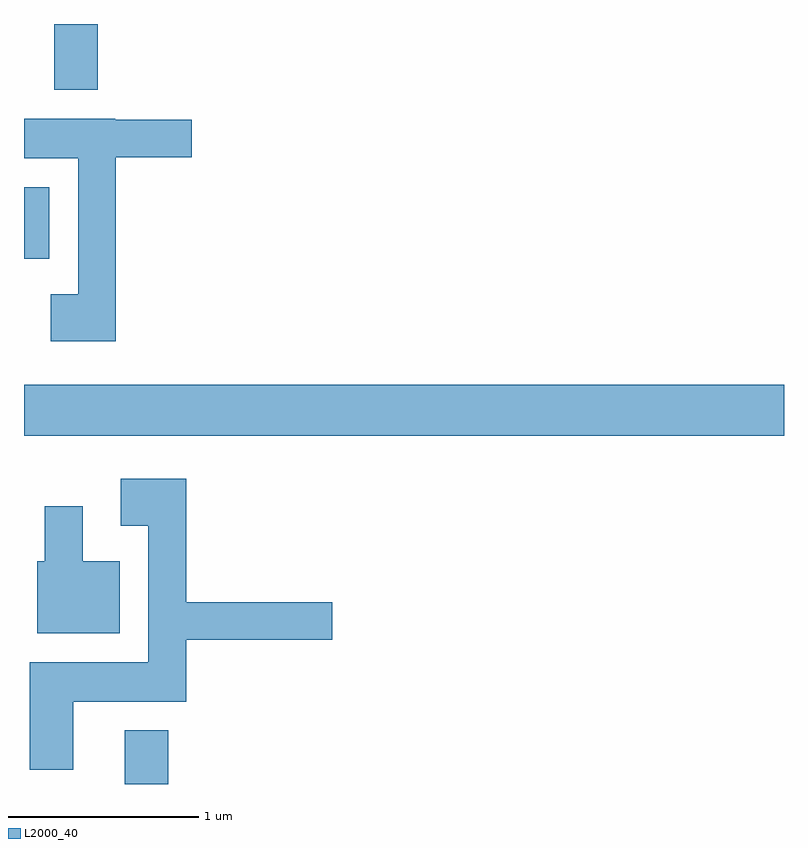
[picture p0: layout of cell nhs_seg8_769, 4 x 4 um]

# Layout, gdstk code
import gdstk
lib = gdstk.Library(unit=1e-6, precision=1e-09)
def R(c, l, rs):  # rectangles x0, y0, x1, y1
    for r in rs: c.add(gdstk.rectangle(r[:2], r[2:], *l))
def P(c, l, *ps):  # polygons
    for p in ps: c.add(gdstk.Polygon(p, *l))
L2000_40 = (2000, 40)

nhs_seg8_769 = lib.new_cell('nhs_seg8_769')
R(nhs_seg8_769, L2000_40, [(208.141,1852.342,208.369,1852.624), (207.611,1854.176,211.611,1854.444), (207.611,1855.106,207.744,1855.484), (207.771,1855.996,207.999,1856.342)])
P(nhs_seg8_769, L2000_40, [(208.094,1855.641),(208.494,1855.641),(208.494,1855.839),(208.09,1855.839),(208.09,1855.844),(207.611,1855.844),(207.611,1855.636),(207.896,1855.636),(207.896,1854.919),(207.751,1854.919),(207.751,1854.671),(208.094,1854.671)],
  [(207.869,1852.776),(208.464,1852.776),(208.464,1853.101),(209.234,1853.101),(209.234,1853.299),(208.464,1853.299),(208.464,1853.949),(208.121,1853.949),(208.121,1853.701),(208.266,1853.701),(208.266,1852.984),(207.641,1852.984),(207.641,1852.416),(207.869,1852.416)],
  [(208.114,1853.514),(207.919,1853.514),(207.919,1853.804),(207.721,1853.804),(207.721,1853.514),(207.681,1853.514),(207.681,1853.136),(208.114,1853.136)])

lib.write_gds('nhs_seg8_769.gds')
